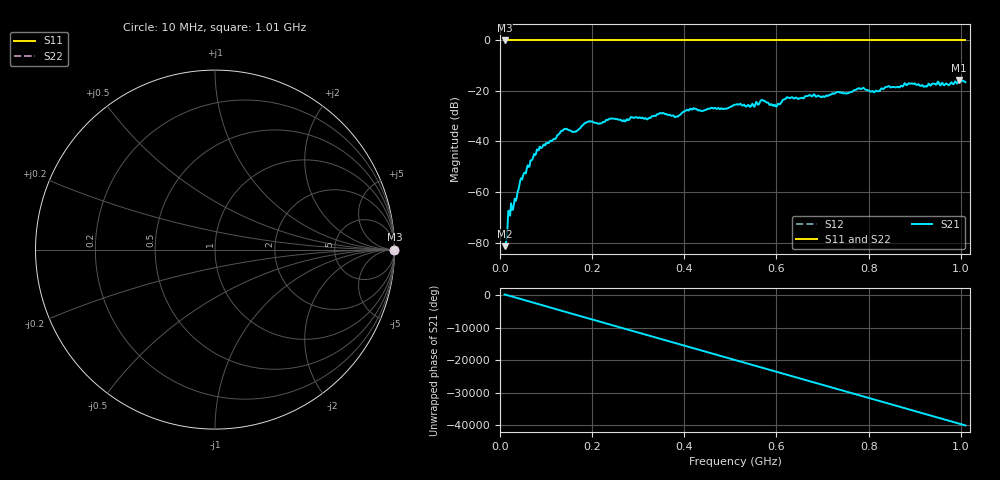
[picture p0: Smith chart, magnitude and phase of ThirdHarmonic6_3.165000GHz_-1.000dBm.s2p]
! 8/17/2025 9:30:57 AM
! C:\ANRITSUVNA\TEMP\TEMP.S2P
! CHANNEL.1
! TR.MEASUREMENT
! RAW.DATA
! RF.CORRECTION.OFF
! AVERAGING.OFF
! IF.BANDWIDTH: 5KHZ
! SWEEPTYPE:  FREQ.SWEEP(Linear)
! Reference Plane Port Info
! PORT:  PORT1  PORT2
! DISTANCE:  0  m  0  m
! TIME:  0  s  0  s
! PHASE.OFFSET:  0  deg.  0  deg.
! LOSS:  0  dB  0  dB
! REF.LOSS:  0  dB  0  dB
! REF.FREQ:  0  Hz  0  Hz
! Power Info
! POWER:  -20  dBm  -20  dBm
! EFF.POWER:  -20  dBm  -20  dBm
! SOURCE.ATTEN:  0  dB  0  dB
! TEST.ATTEN:  0  dB  0  dB
# GHZ S RI R 50.0
! FREQ.GHZ  S11RE  S11IM  S21RE  S21IM  S12RE  S12IM  S22RE  S22IM
!; PortSelection: Port_12
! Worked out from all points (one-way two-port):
!   501 points, 10 MHz to 1.01 GHz, reference 50 ohm
!   highest |S21| = -15.61 dB at 996 MHz (marker M1); lowest = -81.4 dB at 10 MHz (marker M2)
!   lowest |S11| = 0.0 dB at 10 MHz (marker M3)
!   |S11| at or under -10 dB: nowhere
!   |S22| runs from 0.0 to 0.0 dB; largest |S21 - S12| = 1.1
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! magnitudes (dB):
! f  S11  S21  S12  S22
! 10 MHz  0.0  -81.4  0.0  0.0
! 22 MHz  0.0  -69.4  0.0  0.0
! 32 MHz  0.0  -62.7  0.0  0.0
! 48 MHz  0.0  -55.1  0.0  0.0
! 78 MHz  0.0  -45.0  0.0  0.0
! 136 MHz  0.0  -35.8  0.0  0.0
! 162 MHz  0.0  -36.1  0.0  0.0
! 178 MHz  0.0  -33.8  0.0  0.0
! 194 MHz  0.0  -31.9  0.0  0.0
! 322 MHz  0.0  -30.9  0.0  0.0
! 344 MHz  0.0  -29.2  0.0  0.0
! 382 MHz  0.0  -30.1  0.0  0.0
! 416 MHz  0.0  -27.4  0.0  0.0
! 510 MHz  0.0  -25.4  0.0  0.0
! 548 MHz  0.0  -25.0  0.0  0.0
! 570 MHz  0.0  -23.6  0.0  0.0
! 596 MHz  0.0  -25.4  0.0  0.0
! 622 MHz  0.0  -22.5  0.0  0.0
! 678 MHz  0.0  -22.1  0.0  0.0
! 844 MHz  0.0  -18.0  0.0  0.0
! 996 MHz  0.0  -15.6  0.0  0.0
! 1.01 GHz  0.0  -16.5  0.0  0.0
